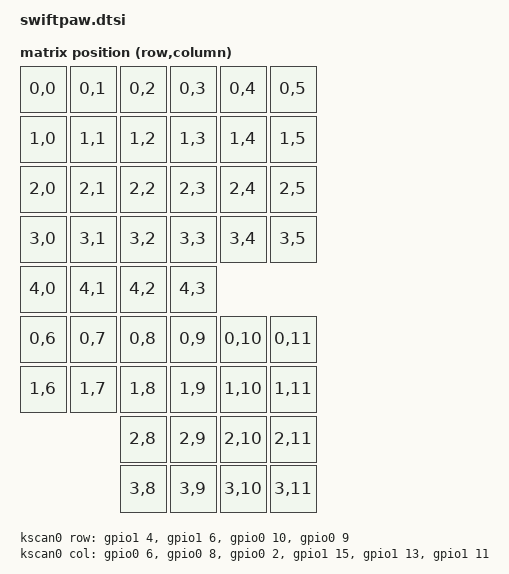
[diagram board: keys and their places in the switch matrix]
#include <dt-bindings/zmk/matrix_transform.h>

/ {
    chosen {
        zmk,kscan = &kscan0;
        zmk,matrix-transform = &split_transform;
    };

    /*
     * Both halves share this same matrix wiring:
     *   Row 1 P1.04   Row 2 P1.06   Row 3 P0.10   Row 4 P0.09
     *   Col 1 P0.06   Col 2 P0.08   Col 3 P0.02   Col 4 P1.15   Col 5 P1.13   Col 6 P1.11
     *
     * Col 1/Col 2 were moved off P0.31/P0.29 onto P0.06/P0.08 - those two are
     * the nice!nano's only other free pins, needed to free up P0.31 (AIN7)
     * and P0.29 (AIN5) for the left half's TMR joystick, since P0.02/P0.29/
     * P0.31 are the ONLY ADC-capable pins actually broken out on this board
     * (P0.03/P0.04/P0.05/P0.28/P0.30 exist on the nRF52840 chip but aren't
     * exposed on the nice!nano's header).
     *
     * Assumed diode-direction: col2row (columns driven, rows read).
     * If your diodes are wired the other way, flip this to "row2col" and
     * swap which array gets the pull-down flag.
     */
    kscan0: kscan {
        compatible = "zmk,kscan-gpio-matrix";
        wakeup-source;
        diode-direction = "col2row";

        row-gpios
            = <&gpio1 4 (GPIO_ACTIVE_HIGH | GPIO_PULL_DOWN)>
            , <&gpio1 6 (GPIO_ACTIVE_HIGH | GPIO_PULL_DOWN)>
            , <&gpio0 10 (GPIO_ACTIVE_HIGH | GPIO_PULL_DOWN)>
            , <&gpio0 9 (GPIO_ACTIVE_HIGH | GPIO_PULL_DOWN)>
            ;

        col-gpios
            = <&gpio0 6 GPIO_ACTIVE_HIGH>
            , <&gpio0 8 GPIO_ACTIVE_HIGH>
            , <&gpio0 2 GPIO_ACTIVE_HIGH>
            , <&gpio1 15 GPIO_ACTIVE_HIGH>
            , <&gpio1 13 GPIO_ACTIVE_HIGH>
            , <&gpio1 11 GPIO_ACTIVE_HIGH>
            ;
    };

    /*
     * Shared 48-position transform for the SPLIT build (left + right
     * together). Left uses this directly with no offset (its columns are
     * global columns 0-5). Right's overlay applies col-offset=6 to shift its
     * own raw columns 0-5 into global columns 6-11 - see the ZMK docs on
     * split matrix transforms for why this offset mechanism is required:
     * https://zmk.dev/docs/hardware-integration/new-shield#matrix-transform
     *
     * Layout: left's 24 matrix keys (row-major) + left's 4 joystick
     * positions (row 4), then right's 20 matrix keys (row-major, its
     * bottom two rows only have 4 keys each, at local cols 2-5 / global
     * cols 8-11). Total 28 + 20 = 48, matching the keymap's bindings order.
     *
     * NOT used by the standalone right build - that one has its own
     * separate, unshifted, 20-position transform since it's not combined
     * with anything.
     */
    split_transform: split_transform {
        compatible = "zmk,matrix-transform";
        columns = <12>;
        rows = <5>;

        map = <
RC(0,0) RC(0,1) RC(0,2) RC(0,3) RC(0,4) RC(0,5)
RC(1,0) RC(1,1) RC(1,2) RC(1,3) RC(1,4) RC(1,5)
RC(2,0) RC(2,1) RC(2,2) RC(2,3) RC(2,4) RC(2,5)
RC(3,0) RC(3,1) RC(3,2) RC(3,3) RC(3,4) RC(3,5)
RC(4,0) RC(4,1) RC(4,2) RC(4,3)

RC(0,6) RC(0,7) RC(0,8) RC(0,9) RC(0,10) RC(0,11)
RC(1,6) RC(1,7) RC(1,8) RC(1,9) RC(1,10) RC(1,11)
                RC(2,8) RC(2,9) RC(2,10) RC(2,11)
                RC(3,8) RC(3,9) RC(3,10) RC(3,11)
        >;
    };
};
